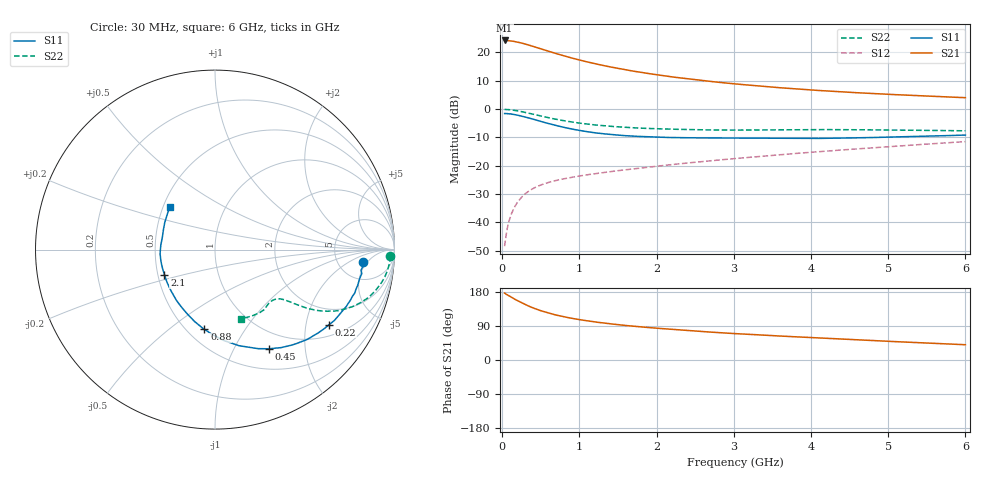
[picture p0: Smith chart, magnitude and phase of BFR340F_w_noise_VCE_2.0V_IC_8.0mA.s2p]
! Infineon Technologies  Discrete & RF Semiconductors
! BFR340F
! VCE =  2.0 V,  IC =  8.0 mA
! Common Emitter S-Parameters:  Nov 2015
# GHz  S  MA  R  50
!  f  S11  S21  S12  S22
! GHz  MAG  ANG  MAG  ANG  MAG  ANG  MAG  ANG
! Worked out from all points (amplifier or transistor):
!   206 points, 30 MHz to 6 GHz, reference 50 ohm
!   highest |S21| = 24.1 dB at 30 MHz (marker M1)
!   |S21| within 3 dB of that: start of sweep to 504.7 MHz
!   unconditionally stable (mu >= 1): 2.078 GHz to 5.343 GHz
!   at 200 MHz: K = 0.18, MSG = 28.2 dB, |S12| = -32.8 dB
!   at 1.56 GHz: K = 0.90, MSG = 17.8 dB, |S12| = -21.6 dB
!   at 6 GHz: K = 0.97, MSG = 7.7 dB, |S12| = -11.5 dB
!   lowest NFmin = 1.32 dB at 450 MHz
!   S11 on the Smith chart (normalised r, x): 30 MHz: 8.93, -3.85; 220 MHz: 1.37, -2.72; 450 MHz: 0.76, -1.40; 880 MHz: 0.61, -0.67; 2.1 GHz: 0.54, -0.17; 6 GHz: 0.54, +0.29
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0.03  0.8277 -4.7  16.1 176.6  0.0038 87.5  0.9777 -2.1
0.05  0.8218 -8.0  15.98 173.4  0.006 85.0  0.976 -3.7
0.07  0.8219 -11.4  16.03 171.1  0.0085 84.5  0.9733 -5.2
0.12  0.8081 -18.9  15.72 165.4  0.0143 80.6  0.9589 -9.0
0.15  0.7974 -23.3  15.47 161.7  0.0177 78.5  0.9467 -11.1
0.22  0.7613 -33.3  14.81 154.1  0.0248 73.7  0.9112 -15.6
0.32  0.7052 -46.5  13.63 144.2  0.0337 68.2  0.8527 -20.8
0.4  0.6587 -56.0  12.64 137.3  0.0395 64.9  0.8041 -24.1
0.45  0.63 -61.3  12.03 133.5  0.0427 63.2  0.7753 -25.9
0.6  0.5517 -76.0  10.38 123.7  0.0506 59.6  0.6971 -29.5
0.68  0.5167 -82.6  9.609 119.5  0.054 58.5  0.6627 -30.8
0.8  0.4723 -92.0  8.594 113.9  0.0587 57.3  0.6179 -32.2
0.88  0.4477 -97.6  8.029 110.8  0.0616 57.0  0.5935 -32.8
1.04  0.4085 -107.8  7.06 105.2  0.0669 56.8  0.5532 -33.8
1.22  0.3762 -118.2  6.185 99.9  0.0727 57.2  0.5188 -34.6
1.5  0.344 -131.8  5.174 93.2  0.0815 58.3  0.4824 -35.7
2.02  0.317 -151.1  3.966 83.6  0.0983 60.8  0.4461 -37.9
2.1  0.3147 -153.6  3.831 82.4  0.1009 61.2  0.4428 -38.4
3.1  0.3055 -177.5  2.695 68.8  0.1365 64.4  0.4238 -45.2
4.1  0.3019 165.7  2.113 58.1  0.1761 65.7  0.4319 -51.7
5.1  0.3198 150.2  1.782 48.4  0.2202 65.7  0.4237 -60.3
6  0.3458 136.9  1.577 40.3  0.2652 64.4  0.4109 -69.2
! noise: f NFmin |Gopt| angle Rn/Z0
0.45  1.32  0.34  1  0.29
0.9  1.37  0.33  10  0.32
1.9  1.68  0.2  6  0.3
2.4  1.87  0.15  18  0.3
